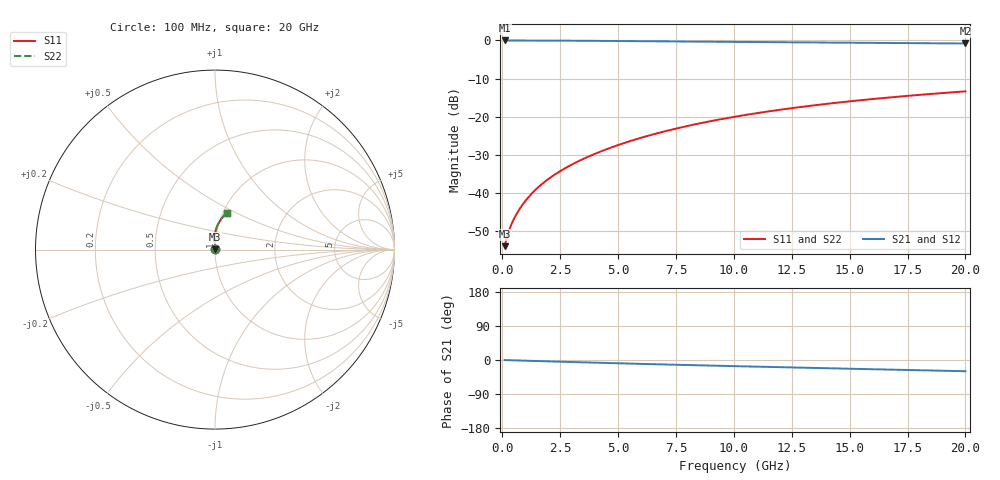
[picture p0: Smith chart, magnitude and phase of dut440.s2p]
! Touchstone file exported from HFSS 2024.1.0
!  File:  C:/UserFiles/LocalFiles/RDL_TSV_Batchsim/temp_RDL_bottom_440_1779684606.aedt
!  Generated:  12:52:22 PM May 25, 2026
!  Design:  RDL_bottom
!  Project:  temp_RDL_bottom_440_1779684606
!  Setup:  Setup1
!  Solution:  Sweep
! Variables:
!  dtsv = 10.80580581um
!  hbump = 3um
!  htsv = 64.75um
!  ldown = 471.17um
!  lrdl = 100um
!  p = 40
!  p1 = 43.38um
!  rhole = 1um
!  t = 450um
!  tdown = 4.04um
!  trdl = 3.915915916um
!  wdown = 27.07um
!  wrdl = 20um
# GHz S MA R 50.000000
! Terminal data exported
! Port[1] = RDL1_T1
! Port[2] = RDL1_T2
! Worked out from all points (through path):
!   200 points, 100 MHz to 20 GHz, reference 50 ohm
!   highest |S21| = -0.02 dB at 100 MHz (marker M1); lowest = -0.8 dB at 20 GHz (marker M2)
!   group delay of S21, straight-line fit = 4.05 ps
!   lowest |S11| = -53.9 dB at 100 MHz (marker M3), VSWR 1.00, Z = 50.2 + j0.0967 ohm
!   |S11| at or under -10 dB: start of sweep to end of sweep
!   |S22| runs from -53.9 to -13.3 dB; largest |S21 - S12| = 2e-15
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0.1  0.002013 28.6  0.9982 -0.2  0.9982 -0.2  0.002013 28.6
! Gamma 0 0 0 0
! Port Impedance 50 0 50 0
0.2  0.002642 43.5  0.998 -0.4  0.998 -0.4  0.002642 43.5
0.3  0.003294 51.6  0.9979 -0.6  0.9979 -0.6  0.003293 51.6
0.4  0.003929 57.3  0.9977 -0.7  0.9977 -0.7  0.003928 57.3
0.5  0.004563 61.7  0.9975 -0.9  0.9975 -0.9  0.004561 61.7
0.8  0.006529 70.8  0.9971 -1.5  0.9971 -1.5  0.006528 70.8
1  0.007904 74.8  0.9968 -1.8  0.9968 -1.8  0.007903 74.8
1.2  0.009322 77.9  0.9965 -2.2  0.9965 -2.2  0.009321 77.9
1.7  0.01302 83.1  0.9954 -3.1  0.9954 -3.1  0.01302 83.1
2.2  0.01692 86.4  0.994 -4.0  0.994 -4.0  0.01693 86.5
2.8  0.02187 89.1  0.9919 -5.0  0.9919 -5.0  0.02187 89.2
3.5  0.02801 91.1  0.9891 -6.2  0.9891 -6.2  0.02802 91.2
4.2  0.03455 92.4  0.9859 -7.4  0.9859 -7.4  0.03458 92.4
5  0.0425 93.0  0.9819 -8.7  0.9819 -8.7  0.04253 93.1
5.9  0.05196 93.2  0.9772 -10.1  0.9772 -10.1  0.05201 93.2
6.8  0.06189 92.7  0.9724 -11.5  0.9724 -11.5  0.06196 92.8
8.4  0.08036 91.2  0.9639 -13.9  0.9639 -13.9  0.08046 91.2
10.1  0.1006 88.8  0.9552 -16.3  0.9552 -16.3  0.1008 88.9
11.7  0.1199 86.2  0.9474 -18.6  0.9474 -18.6  0.12 86.3
13.4  0.1402 83.4  0.9395 -20.9  0.9395 -20.9  0.1404 83.4
16.7  0.1786 77.8  0.9249 -25.3  0.9249 -25.3  0.1788 77.8
20  0.2149 72.3  0.911 -29.6  0.911 -29.6  0.2152 72.4
